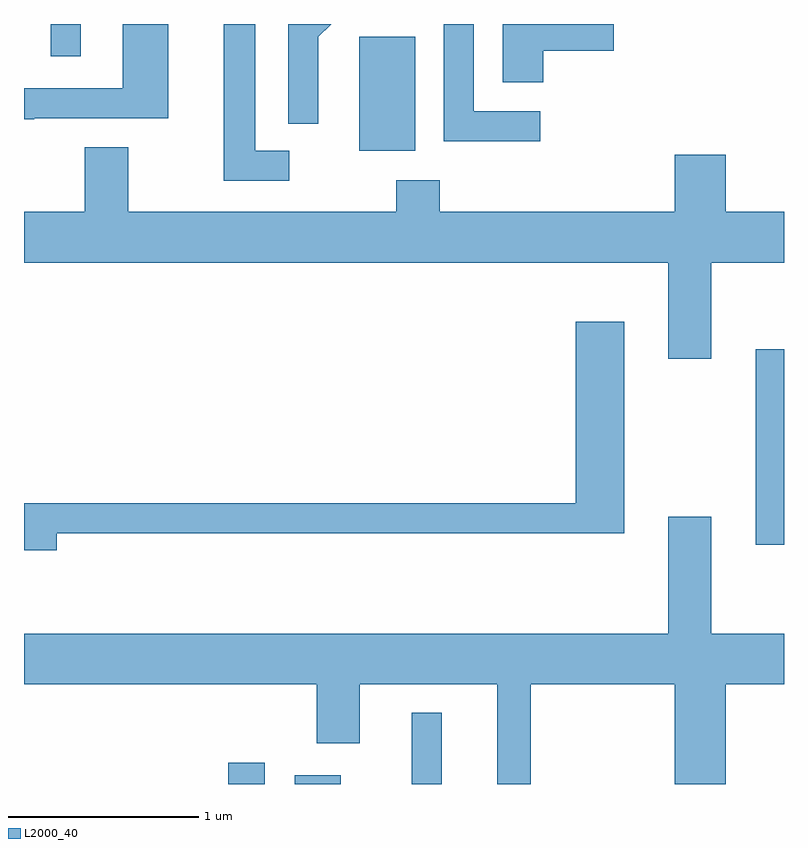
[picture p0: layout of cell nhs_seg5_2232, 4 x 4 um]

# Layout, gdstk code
import gdstk
lib = gdstk.Library(unit=1e-6, precision=1e-09)
def R(c, l, rs):  # rectangles x0, y0, x1, y1
    for r in rs: c.add(gdstk.rectangle(r[:2], r[2:], *l))
def P(c, l, *ps):  # polygons
    for p in ps: c.add(gdstk.Polygon(p, *l))
L2000_40 = (2000, 40)

nhs_seg5_2232 = lib.new_cell('nhs_seg5_2232')
R(nhs_seg5_2232, L2000_40, [(252.686,1434.072,252.879,1434.184), (253.036,1434.072,253.279,1434.119), (253.651,1434.072,253.809,1434.448), (255.461,1435.331,255.611,1436.359), (253.376,1437.406,253.669,1438.004), (251.751,1437.903,251.909,1438.072)])
P(nhs_seg5_2232, L2000_40, [(253.008,1437.404),(252.829,1437.404),(252.829,1438.072),(252.661,1438.072),(252.661,1437.246),(253.008,1437.246)],
  [(254.344,1437.931),(254.714,1437.931),(254.714,1438.072),(254.131,1438.072),(254.131,1437.766),(254.344,1437.766)],
  [(253.159,1438.004),(253.227,1438.072),(253.001,1438.072),(253.001,1437.548),(253.159,1437.548)],
  [(254.328,1437.614),(253.979,1437.614),(253.979,1438.072),(253.821,1438.072),(253.821,1437.456),(254.328,1437.456)],
  [(251.665,1437.576),(252.369,1437.576),(252.369,1438.072),(252.131,1438.072),(252.131,1437.734),(251.611,1437.734),(251.611,1437.571),(251.665,1437.571)],
  [(255.229,1436.816),(255.611,1436.816),(255.611,1437.084),(255.304,1437.084),(255.304,1437.384),(255.036,1437.384),(255.036,1437.084),(253.799,1437.084),(253.799,1437.249),(253.571,1437.249),(253.571,1437.084),(252.159,1437.084),(252.159,1437.424),(251.931,1437.424),(251.931,1437.084),(251.611,1437.084),(251.611,1436.816),(255.001,1436.816),(255.001,1436.311),(255.229,1436.311)],
  [(251.784,1435.391),(254.769,1435.391),(254.769,1436.504),(254.516,1436.504),(254.516,1435.549),(251.611,1435.549),(251.611,1435.301),(251.784,1435.301)],
  [(254.279,1434.596),(255.036,1434.596),(255.036,1434.072),(255.304,1434.072),(255.304,1434.596),(255.611,1434.596),(255.611,1434.864),(255.229,1434.864),(255.229,1435.479),(255.001,1435.479),(255.001,1434.864),(251.611,1434.864),(251.611,1434.596),(253.151,1434.596),(253.151,1434.286),(253.379,1434.286),(253.379,1434.596),(254.101,1434.596),(254.101,1434.072),(254.279,1434.072)])

lib.write_gds('nhs_seg5_2232.gds')
